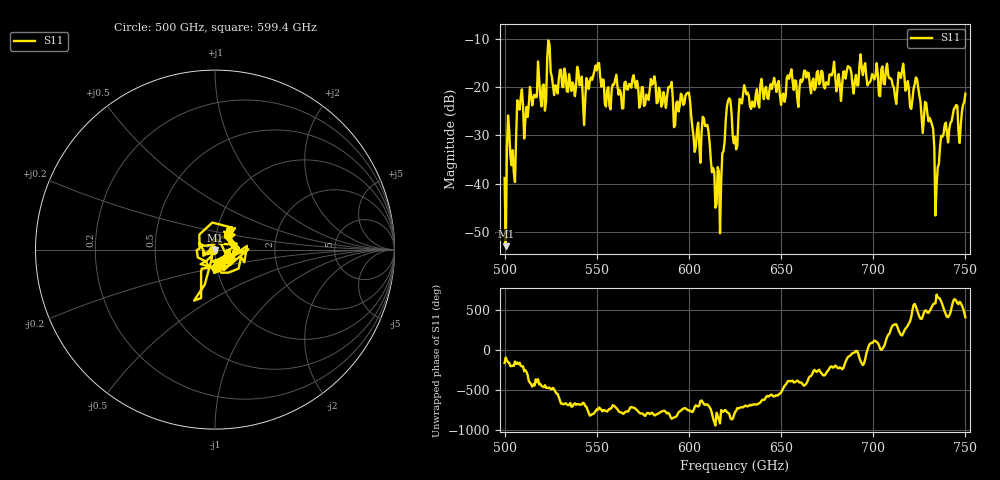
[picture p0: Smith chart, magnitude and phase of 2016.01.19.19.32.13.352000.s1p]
!Created with skrf (http://scikit-rf.org).
# GHz S RI R 50.0
!freq ReS11 ImS11
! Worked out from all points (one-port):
!   401 points, 500 GHz to 750 GHz, reference 50 ohm
!   lowest |S11| = -53.0 dB at 500.6 GHz (marker M1), VSWR 1.00, Z = 50 - j0.223 ohm
!   |S11| at or under -10 dB: start of sweep to end of sweep
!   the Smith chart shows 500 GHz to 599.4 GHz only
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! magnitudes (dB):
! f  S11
! 500 GHz  -38.9
! 500.6 GHz  -53.0
! 502.5 GHz  -29.0
! 505 GHz  -37.6
! 508.1 GHz  -24.6
! 521.2 GHz  -19.4
! 524.4 GHz  -11.0
! 527.5 GHz  -19.6
! 531.2 GHz  -19.8
! 543.8 GHz  -22.5
! 550 GHz  -16.5
! 562.5 GHz  -20.5
! 580.6 GHz  -19.1
! 593.8 GHz  -22.9
! 599.4 GHz  -21.1
! 605 GHz  -27.4
! 608.8 GHz  -28.0
! 615.6 GHz  -36.6
! 621.2 GHz  -22.8
! 625 GHz  -30.2
! 630.6 GHz  -20.5
! 656.2 GHz  -18.7
! 687.5 GHz  -16.0
! 718.8 GHz  -18.7
! 729.4 GHz  -25.4
! 734.4 GHz  -40.3
! 738.1 GHz  -29.8
! 750 GHz  -21.3
